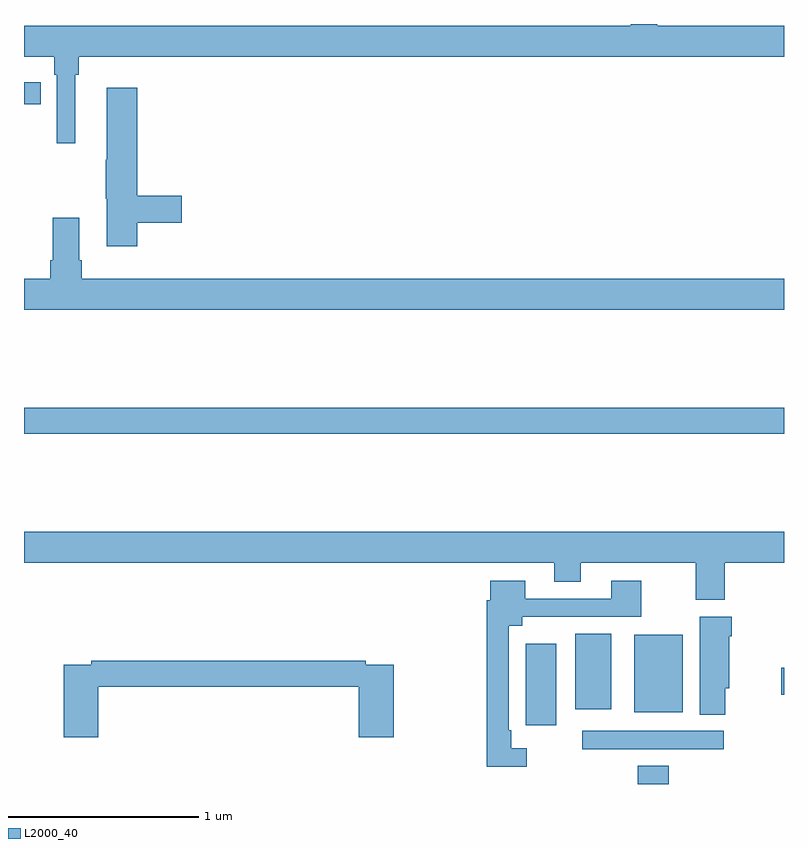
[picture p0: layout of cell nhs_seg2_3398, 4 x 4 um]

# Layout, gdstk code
import gdstk
lib = gdstk.Library(unit=1e-6, precision=1e-09)
def R(c, l, rs):  # rectangles x0, y0, x1, y1
    for r in rs: c.add(gdstk.rectangle(r[:2], r[2:], *l))
def P(c, l, *ps):  # polygons
    for p in ps: c.add(gdstk.Polygon(p, *l))
L2000_40 = (2000, 40)

nhs_seg2_3398 = lib.new_cell('nhs_seg2_3398')
R(nhs_seg2_3398, L2000_40, [(292.229,651.8,292.394,651.895), (291.939,651.984,292.684,652.08), (291.641,652.11,291.802,652.537), (292.211,652.178,292.468,652.585), (291.902,652.193,292.09,652.591), (292.986,652.27,293,652.412), (289,653.644,293,653.78), (289,655.378,289.088,655.494)])
P(nhs_seg2_3398, L2000_40, [(289.27,655.532),(289.289,655.532),(289.289,655.628),(293,655.628),(293,655.792),(292.333,655.792),(292.333,655.8),(292.193,655.8),(292.193,655.792),(289,655.792),(289,655.628),(289.16,655.628),(289.16,655.532),(289.173,655.532),(289.173,655.173),(289.27,655.173)],
  [(289.595,654.754),(289.831,654.754),(289.831,654.896),(289.595,654.896),(289.595,655.465),(289.436,655.465),(289.436,655.085),(289.429,655.085),(289.429,654.879),(289.436,654.879),(289.436,654.63),(289.595,654.63)],
  [(293,654.46),(289.304,654.46),(289.304,654.556),(289.291,654.556),(289.291,654.781),(289.151,654.781),(289.151,654.556),(289.139,654.556),(289.139,654.46),(289,654.46),(289,654.296),(293,654.296)],
  [(292.688,652.964),(293,652.964),(293,653.128),(289,653.128),(289,652.964),(291.791,652.964),(291.791,652.865),(291.931,652.865),(291.931,652.964),(292.535,652.964),(292.535,652.77),(292.688,652.77)],
  [(291.646,651.987),(291.564,651.987),(291.564,652.084),(291.552,652.084),(291.552,652.634),(291.622,652.634),(291.622,652.68),(292.249,652.68),(292.249,652.87),(292.091,652.87),(292.091,652.776),(291.637,652.776),(291.637,652.87),(291.455,652.87),(291.455,652.766),(291.436,652.766),(291.436,651.891),(291.646,651.891)],
  [(292.69,652.305),(292.711,652.305),(292.711,652.577),(292.724,652.577),(292.724,652.681),(292.556,652.681),(292.556,652.165),(292.69,652.165)],
  [(289.391,652.312),(290.762,652.312),(290.762,652.047),(290.945,652.047),(290.945,652.428),(290.798,652.428),(290.798,652.448),(289.354,652.448),(289.354,652.428),(289.208,652.428),(289.208,652.047),(289.391,652.047)])

lib.write_gds('nhs_seg2_3398.gds')
